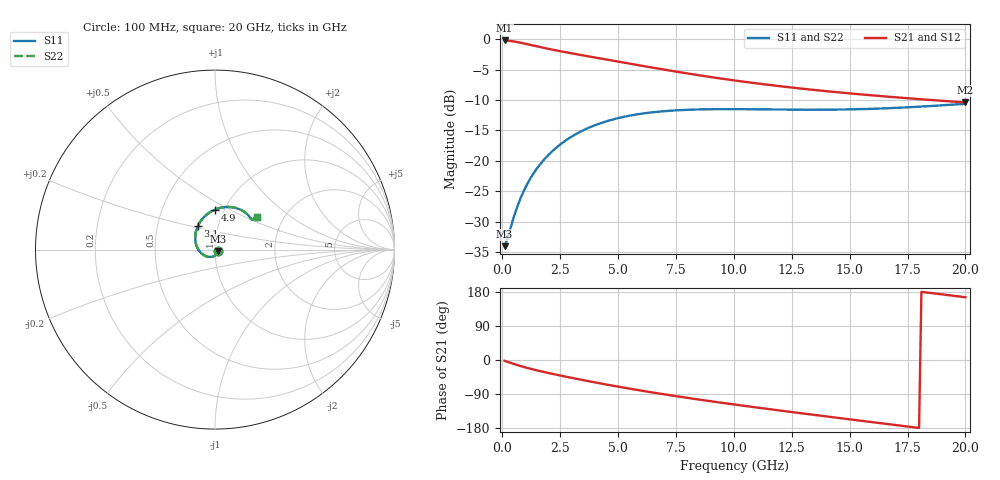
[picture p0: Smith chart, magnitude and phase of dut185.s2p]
! Touchstone file exported from HFSS 2023.1.0
!  File:  D:/Users/fzz/RDL_TSV/temp_RDL_TSV_185_1778755175.aedt
!  Generated:  6:48:46 %x4E0B%x5348  5%x6708 14, 2026
!  Design:  RDL_TSV
!  Project:  temp_RDL_TSV_185_1778755175
!  Setup:  Setup1
!  Solution:  Sweep
! Variables:
!  dtsv = 19.06um
!  hbump = 3um
!  htsv = 88.56um
!  ldown = 526.33um
!  lrdl = 141.04um
!  p = 40
!  p1 = 57.81um
!  rhole = 10um
!  subl = 2143.15um
!  t = 450um
!  tdown = 2.66um
!  trdl = 2.68um
!  viad = 10um
!  wdown = 15.72um
!  wrdl = 12.95um
!  xbump = 18um
# GHz S MA R 50.000000
! Terminal data exported
! Port[1] = TM1_1_T1
! Port[2] = TM1_4_T1
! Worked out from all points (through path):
!   200 points, 100 MHz to 20 GHz, reference 50 ohm
!   highest |S21| = -0.17 dB at 100 MHz (marker M1); lowest = -10.4 dB at 20 GHz (marker M2)
!   group delay of S21, straight-line fit = 25.1 ps
!   lowest |S11| = -34.1 dB at 100 MHz (marker M3), VSWR 1.04, Z = 51.8 - j0.829 ohm
!   |S11| at or under -10 dB: start of sweep to end of sweep
!   |S22| runs from -34.1 to -10.6 dB; largest |S21 - S12| = 1.3e-14
!   S11 on the Smith chart (normalised r, x): 100 MHz: 1.04, -0.02; 3.1 GHz: 0.80, +0.22; 4.9 GHz: 0.90, +0.42; 20 GHz: 1.47, +0.58
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0.1  0.01982 -23.8  0.9801 -2.2  0.9801 -2.2  0.01982 -23.8
! Gamma 0 0 0 0
! Port Impedance 50 0 50 0
0.2  0.0222 -45.3  0.9775 -4.3  0.9775 -4.3  0.0222 -45.3
0.5  0.03454 -92.6  0.9617 -10.5  0.9617 -10.5  0.03454 -92.6
0.7  0.04456 -114.9  0.9465 -14.3  0.9465 -14.3  0.04456 -114.9
1  0.06031 -141.1  0.9203 -19.6  0.9203 -19.6  0.06032 -141.1
1.3  0.07621 -161.9  0.893 -24.4  0.893 -24.4  0.07623 -161.9
1.7  0.09706 175.8  0.8585 -30.3  0.8585 -30.3  0.09711 175.8
2.1  0.1172 158.0  0.8274 -35.8  0.8274 -35.8  0.1173 158.0
2.6  0.1409 140.2  0.7927 -42.2  0.7927 -42.2  0.141 140.2
3.1  0.1627 125.8  0.7613 -48.4  0.7613 -48.4  0.1629 125.8
3.5  0.1786 116.1  0.7377 -53.2  0.7377 -53.2  0.1787 116.1
4.2  0.2028 101.9  0.6985 -61.4  0.6985 -61.4  0.2029 101.9
4.9  0.2223 90.4  0.6615 -69.2  0.6615 -69.2  0.2225 90.4
5.9  0.2426 77.2  0.6122 -79.8  0.6122 -79.8  0.2428 77.3
6.8  0.2545 67.9  0.5718 -88.8  0.5718 -88.8  0.2547 68.0
8.4  0.2647 55.8  0.5098 -103.6  0.5098 -103.6  0.2649 55.8
10.1  0.2664 47.4  0.4571 -118.1  0.4571 -118.1  0.2666 47.5
11.7  0.2648 42.7  0.4178 -131.1  0.4178 -131.1  0.265 42.7
13.4  0.2635 40.0  0.3846 -144.3  0.3846 -144.3  0.2637 40.1
15  0.2652 39.0  0.3592 -156.6  0.3592 -156.6  0.2654 39.1
16.7  0.2713 38.7  0.3369 -169.5  0.3369 -169.5  0.2716 38.8
20  0.295 37.9  0.3025 165.5  0.3025 165.5  0.2954 38.0
